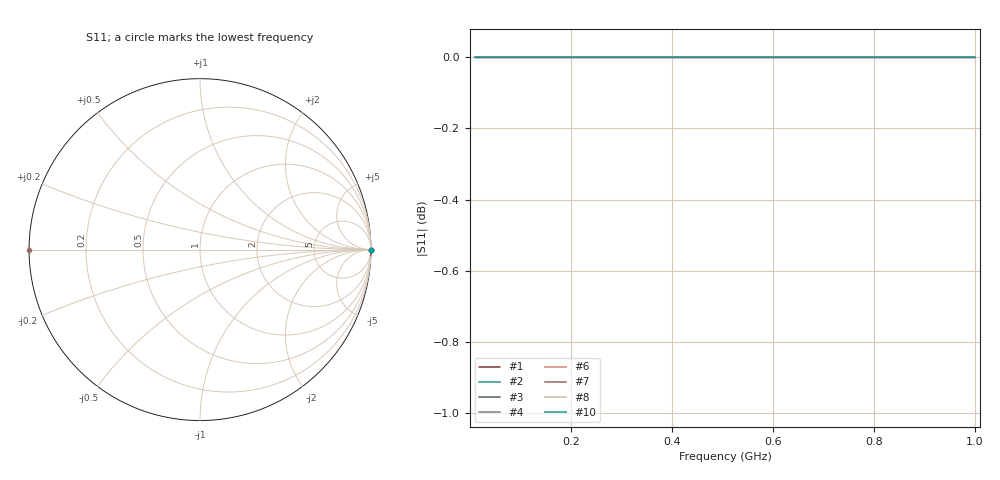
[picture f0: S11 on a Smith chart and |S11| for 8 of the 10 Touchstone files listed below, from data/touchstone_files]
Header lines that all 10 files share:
! Touchstone file from project FYP_Sim_Actual_Separated_Ports
! Exported from HFSS 13.0.2
! Terminal data exported
! Port[2] = Radiating_Plate_T1
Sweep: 10 MHz to 1 GHz
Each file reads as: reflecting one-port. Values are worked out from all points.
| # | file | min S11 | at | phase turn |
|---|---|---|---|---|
| 1 | FYP_Sim_Actual_Separated_Ports_PD1_S1.s2p | 0.0 dB | 110 MHz | -1 deg |
| 2 | FYP_Sim_Actual_Separated_Ports_PD1_S1_Z_Matrix.s2p | 0.0 dB | 110 MHz | -0 deg |
| 3 | FYP_Sim_Actual_Separated_Ports_PD1_S2_Z_Matrix.s2p | 0.0 dB | 230 MHz | -0 deg |
| 4 | FYP_Sim_Actual_Separated_Ports_PD1_S3.s2p | 0.0 dB | 430 MHz | -1 deg |
| 5 | FYP_Sim_Actual_Separated_Ports_PD1_S4.s2p | 0.0 dB | 240 MHz | -1 deg |
| 6 | FYP_Sim_Actual_Separated_Ports_PD2_S2.s2p | 0.0 dB | 1 GHz | -1 deg |
| 7 | FYP_Sim_Actual_Separated_Ports_PD2_S3.s2p | 0.0 dB | 130 MHz | -2 deg |
| 8 | FYP_Sim_Actual_Separated_Ports_PD2_S3_Z_Matrix.s2p | 0.0 dB | 130 MHz | -0 deg |
| 9 | FYP_Sim_Actual_Separated_Ports_PD2_S4.s2p | 0.0 dB | 300 MHz | -2 deg |
| 10 | FYP_Sim_Actual_Separated_Ports_PD2_S4_Z_Matrix.s2p | 0.0 dB | 300 MHz | -0 deg |
